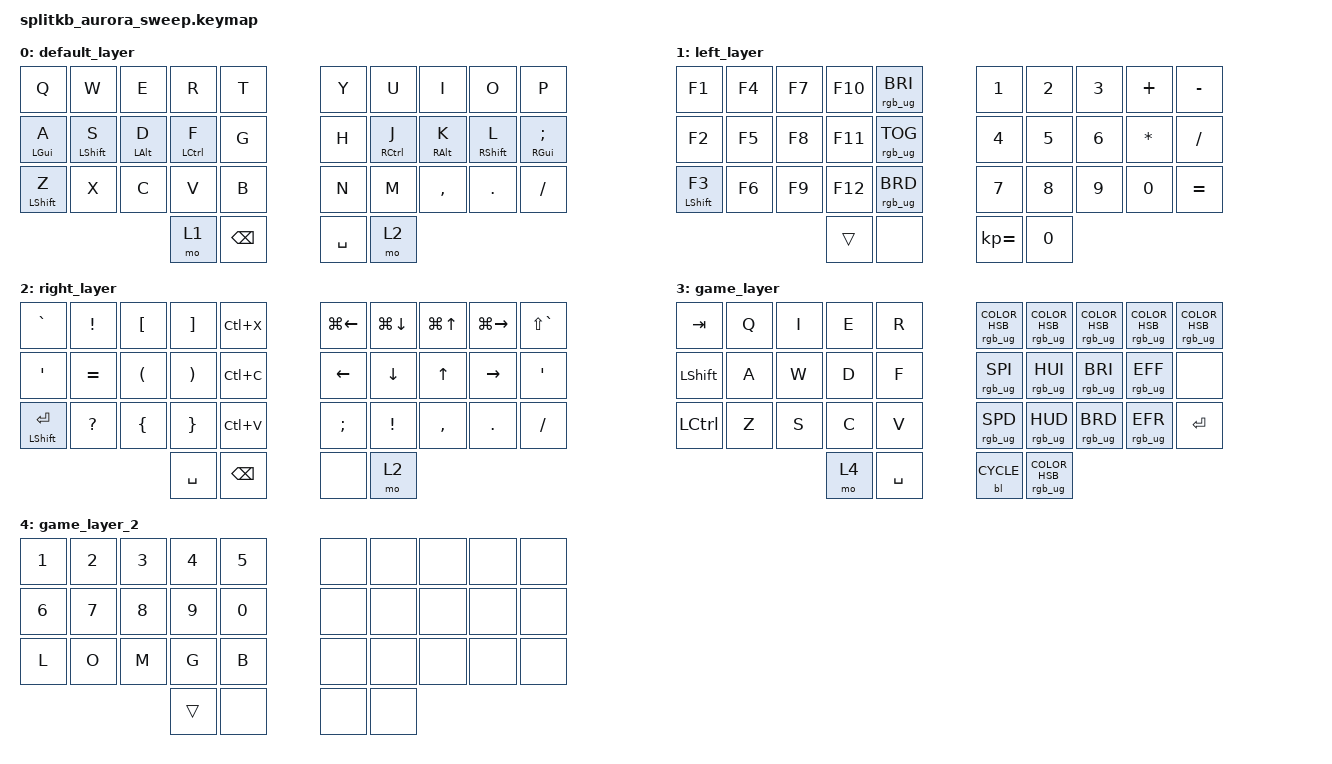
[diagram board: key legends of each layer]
/*
 * Copyright (c) 2022 The ZMK Contributors
 *
 * SPDX-License-Identifier: MIT
 */

#include <behaviors.dtsi>
#include <dt-bindings/zmk/backlight.h>
#include <dt-bindings/zmk/keys.h>
#include <dt-bindings/zmk/rgb.h>

&mt {
    //  flavor = "tap-preferred";
    // tapping-term-ms = <200>;

    flavor = "tap-preferred";
    tapping-term-ms = <150>;
};

/ {
    combos {
        compatible = "zmk,combos";

        combo_esc {
            timeout-ms = <50>;
            key-positions = <0 1>;
            bindings = <&kp ESC>;
        };

        combo_tab {
            timeout-ms = <50>;
            key-positions = <10 11>;
            bindings = <&kp TAB>;
        };

        Semicolon {
            bindings = <&kp EQUAL>;
            key-positions = <8 9>;
        };

        game_mode {
            bindings = <&game_layer>;
            key-positions = <2 1 3>;
        };

        default_mode {
            bindings = <&default_layer>;
            key-positions = <21 22 23>;
        };

        combo_left_layer {
            bindings = <&left_layer>;
            key-positions = <30 31>;
        };

        combo_right_layer {
            bindings = <&right_layer>;
            key-positions = <33 32>;
        };

        combo_underscore {
            bindings = <&kp UNDERSCORE>;
            key-positions = <31 32>;
        };

        combo_enter {
            bindings = <&kp ENTER>;
            key-positions = <19 18>;
            timeout-ms = <50>;
            require-prior-idle-ms = <10>;
        };
    };

    macros {
        default_layer: default_layer {
            compatible = "zmk,behavior-macro";
            #binding-cells = <0>;
            bindings = <&to 0>;
            label = "DEFAULT_LAYER";
        };

        left_layer: left_layer {
            compatible = "zmk,behavior-macro";
            #binding-cells = <0>;
            bindings = <&to 1>;
            label = "LEFT_LAYER";
        };

        right_layer: right_layer {
            compatible = "zmk,behavior-macro";
            #binding-cells = <0>;
            bindings = <&to 2>;
            label = "RIGHT_LAYER";
        };

        game_layer: game_layer {
            compatible = "zmk,behavior-macro";
            #binding-cells = <0>;
            bindings = <&to 3>;
            label = "GAME_LAYER";
        };
    };

    keymap {
        compatible = "zmk,keymap";

        default_layer {
            bindings = <
&kp Q             &kp W             &kp E           &kp R               &kp T    &kp Y  &kp U                &kp I            &kp O              &kp P
&mt LEFT_GUI A    &mt LEFT_SHIFT S  &mt LEFT_ALT D  &mt LEFT_CONTROL F  &kp G    &kp H  &mt RIGHT_CONTROL J  &mt RIGHT_ALT K  &mt RIGHT_SHIFT L  &mt RIGHT_GUI SEMICOLON
&mt LEFT_SHIFT Z  &kp X             &kp C           &kp V               &kp B    &kp N  &kp M                &kp COMMA        &kp DOT            &kp SLASH
&mo 1             &kp BACKSPACE                                                                                               &kp SPACE          &mo 2
            >;
        };

        left_layer {
            bindings = <
&kp F1             &kp F4  &kp F7  &kp F10  &rgb_ug RGB_BRI    &kp NUMBER_1  &kp NUMBER_2  &kp NUMBER_3  &kp PLUS      &kp MINUS
&kp F2             &kp F5  &kp F8  &kp F11  &rgb_ug RGB_TOG    &kp NUMBER_4  &kp N5        &kp NUMBER_6  &kp ASTERISK  &kp SLASH
&mt LEFT_SHIFT F3  &kp F6  &kp F9  &kp F12  &rgb_ug RGB_BRD    &kp N7        &kp N8        &kp N9        &kp N0        &kp EQUAL
&trans             &none                                                                                 &kp KP_EQUAL  &kp N0
            >;
        };

        right_layer {
            bindings = <
&kp GRAVE             &kp EXCLAMATION  &kp LEFT_BRACKET      &kp RIGHT_BRACKET      &kp LC(X)    &kp LG(LEFT)    &kp LG(DOWN_ARROW)  &kp LG(UP_ARROW)  &kp LG(RIGHT_ARROW)  &kp LS(GRAVE)
&kp SQT               &kp EQUAL        &kp LEFT_PARENTHESIS  &kp RIGHT_PARENTHESIS  &kp LC(C)    &kp LEFT_ARROW  &kp DOWN_ARROW      &kp UP_ARROW      &kp RIGHT            &kp SQT
&mt LEFT_SHIFT ENTER  &kp QUESTION     &kp LEFT_BRACE        &kp RIGHT_BRACE        &kp LC(V)    &kp SEMICOLON   &kp EXCLAMATION     &kp COMMA         &kp PERIOD           &kp SLASH
&kp SPACE             &kp BACKSPACE                                                                                                                    &none                &mo 2
            >;
        };

        game_layer {
            bindings = <
&kp TAB           &kp Q      &kp I  &kp E  &kp R    &rgb_ug RGB_COLOR_HSB(0,97,48)  &rgb_ug RGB_COLOR_HSB(58,93,49)  &rgb_ug RGB_COLOR_HSB(109,98,49)  &rgb_ug RGB_COLOR_HSB(177,95,50)  &rgb_ug RGB_COLOR_HSB(242,91,48)
&kp LEFT_SHIFT    &kp A      &kp W  &kp D  &kp F    &rgb_ug RGB_SPI                 &rgb_ug RGB_HUI                  &rgb_ug RGB_BRI                   &rgb_ug RGB_EFF                   &none
&kp LEFT_CONTROL  &kp Z      &kp S  &kp C  &kp V    &rgb_ug RGB_SPD                 &rgb_ug RGB_HUD                  &rgb_ug RGB_BRD                   &rgb_ug RGB_EFR                   &kp ENTER
&mo 4             &kp SPACE                                                                                                                            &bl BL_CYCLE                      &rgb_ug RGB_COLOR_HSB(300,100,51)
            >;
        };

        game_layer_2 {
            bindings = <
&kp N1  &kp N2  &kp N3  &kp N4  &kp N5    &none  &none  &none  &none  &none
&kp N6  &kp N7  &kp N8  &kp N9  &kp N0    &none  &none  &none  &none  &none
&kp L   &kp O   &kp M   &kp G   &kp B     &none  &none  &none  &none  &none
&trans  &none                                                  &none  &none
            >;
        };
    };
};
